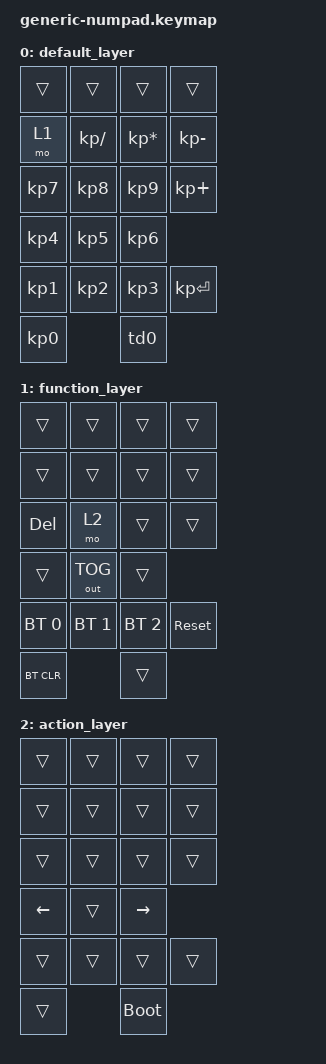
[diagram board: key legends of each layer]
#include <behaviors.dtsi>
#include <dt-bindings/zmk/keys.h>
#include <dt-bindings/zmk/bt.h>
#include <dt-bindings/zmk/outputs.h>





// -----------------reference----------------
// |   Crcl   |   HxGn  |   Sqr   |   Trgl  |
// | LAYERSFT |    /    |    *    |    -    |
// |    7     |    8    |    9    |    +    |
// |    4     |    5    |    6    |         |
// |    1     |    2    |    3    |  ENTER  |
// |          |    0    |         |    .    |


// ------------------default-----------------
// |   Crcl   |   HxGn  |   Sqr   |   BSPC  |
// | LAYERSFT |    /    |    *    |    -    |
// |    7     |    8    |    9    |    +    |
// |    4     |    5    |    6    |         |
// |    1     |    2    |    3    |  ENTER  |
// |          |    0    |         |    .    |


// ----------------------------functions-------------------------------
// |    Num     |    HxGn            |    Sqr    |        Trgl        |
// |  LAYERSFT  |    NOP             |    NOP    |   Bluetooth PREV   |
// |    NOP     |    LAYERSFT        |    NOP    |   Bluetooth Next   |
// |    NOP     |    OUT_TOG         |    NOP    |                    |
// |Bluetooth 0 |    Bluetooth 1     |Bluetooth 2|   reset            |
// |            |    BluetoothCLR    |           |   NOP              |


// --------------------action layer------------------
// |    Crcl   |    HxGn   |     Sqr   |     Trgl   |
// |     NOP   |     NOP   |     NOP   |     NOP    |
// |     NOP   |     NOP   |     NOP   |            |
// |Arrow Left |     NOP   |Arrow Right|     NOP    |
// |     NOP   |     NOP   |     NOP   |     NOP    |
// |           |     NOP   |           | Bootloader |




/ {
    // special behaviors like tap-dance etc.
    behaviors {
        td0: tap_dance_0 {
            compatible = "zmk,behavior-tap-dance";
            #binding-cells = <0>;
            tapping-term-ms = <200>;        // <- ms time for press
            bindings = <&kp COMMA>, <&kp DOT>;        // <- define what button at what point of time -> first button first, second button second... -> define using td.. in "default_layer" i.e.
        };
    };

    // keymap buttons
    keymap {
        compatible = "zmk,keymap";

        // default_layer 1. standard layer
        default_layer {
            bindings = <
    &trans        &trans         &trans            &trans
    &mo 1         &kp KP_DIVIDE  &kp KP_MULTIPLY   &kp KP_MINUS
    &kp KP_N7     &kp KP_N8      &kp KP_N9         &kp KP_PLUS
    &kp KP_N4     &kp KP_N5      &kp KP_N6
    &kp KP_N1     &kp KP_N2      &kp KP_N3         &kp KP_ENTER
    &kp KP_N0                    &td0                               // <- &td0 defined above as dot and comma -> was dot
            >;
        };
        function_layer {
            bindings = <
    &trans       &trans          &trans       &trans
    &trans       &trans          &trans       &trans
    &kp DEL      &mo 2           &trans       &trans
    &trans       &out OUT_TOG    &trans
    &bt BT_SEL 0 &bt BT_SEL 1    &bt BT_SEL 2 &sys_reset
    &bt BT_CLR                   &trans
            >;
        };
        action_layer {
            bindings = <
    &trans       &trans          &trans       &trans
    &trans       &trans          &trans       &trans
    &trans       &trans          &trans       &trans
    &kp LEFT     &trans          &kp RIGHT
    &trans       &trans          &trans       &trans
    &trans                       &bootloader
            >;
        };
    };
};
